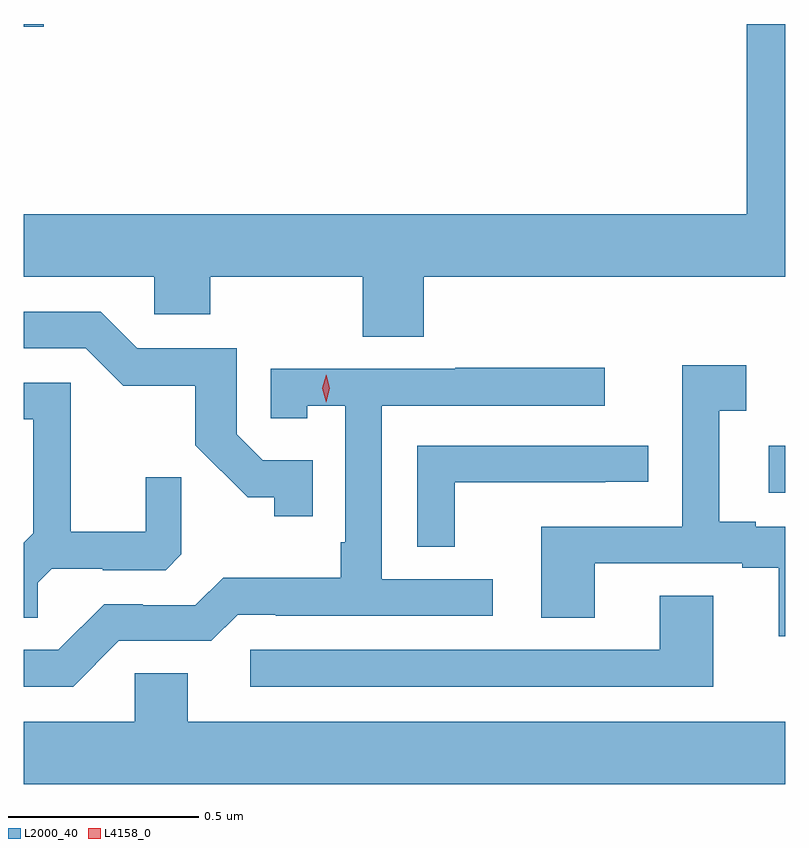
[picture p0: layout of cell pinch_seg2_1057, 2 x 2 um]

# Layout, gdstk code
import gdstk
lib = gdstk.Library(unit=1e-6, precision=1e-09)
def R(c, l, rs):  # rectangles x0, y0, x1, y1
    for r in rs: c.add(gdstk.rectangle(r[:2], r[2:], *l))
def P(c, l, *ps):  # polygons
    for p in ps: c.add(gdstk.Polygon(p, *l))
L2000_40 = (2000, 40)
L4158_0 = (4158, 0)

pinch_seg2_1057 = lib.new_cell('pinch_seg2_1057')
R(pinch_seg2_1057, L2000_40, [(320.355,597.785,320.398,597.909), (318.398,599.009,318.451,599.016)])
P(pinch_seg2_1057, L2000_40, [(319.448,598.352),(320.398,598.352),(320.398,599.016),(320.297,599.016),(320.297,598.516),(318.398,598.516),(318.398,598.352),(318.741,598.352),(318.741,598.254),(318.888,598.254),(318.888,598.352),(319.288,598.352),(319.288,598.195),(319.448,598.195)],
  [(319.157,597.87),(319.026,597.87),(318.957,597.939),(318.957,598.164),(318.696,598.164),(318.6,598.26),(318.398,598.26),(318.398,598.164),(318.561,598.164),(318.66,598.066),(318.849,598.066),(318.849,597.91),(318.986,597.773),(319.056,597.773),(319.056,597.723),(319.157,597.723)],
  [(320.398,597.696),(320.32,597.696),(320.32,597.709),(320.224,597.709),(320.224,598),(320.296,598),(320.296,598.12),(320.127,598.12),(320.127,597.696),(319.757,597.696),(319.757,597.457),(319.897,597.457),(319.897,597.6),(320.285,597.6),(320.285,597.588),(320.381,597.588),(320.381,597.408),(320.398,597.408)],
  [(318.648,597.396),(318.891,597.396),(318.96,597.465),(319.06,597.465),(319.06,597.462),(319.63,597.462),(319.63,597.558),(319.338,597.558),(319.338,598.014),(319.924,598.014),(319.924,598.113),(319.531,598.113),(319.531,598.11),(319.047,598.11),(319.047,597.981),(319.143,597.981),(319.143,598.013),(319.242,598.013),(319.242,597.655),(319.23,597.655),(319.23,597.562),(318.922,597.562),(318.849,597.489),(318.71,597.489),(318.71,597.492),(318.609,597.492),(318.489,597.372),(318.398,597.372),(318.398,597.276),(318.528,597.276)],
  [(318.435,597.548),(318.472,597.585),(318.606,597.585),(318.606,597.582),(318.771,597.582),(318.812,597.623),(318.812,597.825),(318.718,597.825),(318.718,597.682),(318.521,597.682),(318.521,598.074),(318.398,598.074),(318.398,597.978),(318.423,597.978),(318.423,597.679),(318.398,597.654),(318.398,597.457),(318.435,597.457)],
  [(319.53,597.813),(319.925,597.813),(319.925,597.814),(320.038,597.814),(320.038,597.909),(319.431,597.909),(319.431,597.643),(319.53,597.643)],
  [(320.209,597.515),(320.069,597.515),(320.069,597.372),(318.993,597.372),(318.993,597.276),(320.209,597.276)],
  [(320.398,597.184),(318.829,597.184),(318.829,597.311),(318.69,597.311),(318.69,597.184),(318.398,597.184),(318.398,597.02),(320.398,597.02)])
P(pinch_seg2_1057, L4158_0, [(319.192,598.022),(319.192,598.023),(319.182,598.059),(319.192,598.095),(319.192,598.095),(319.192,598.095),(319.202,598.059),(319.192,598.023)])

lib.write_gds('pinch_seg2_1057.gds')
